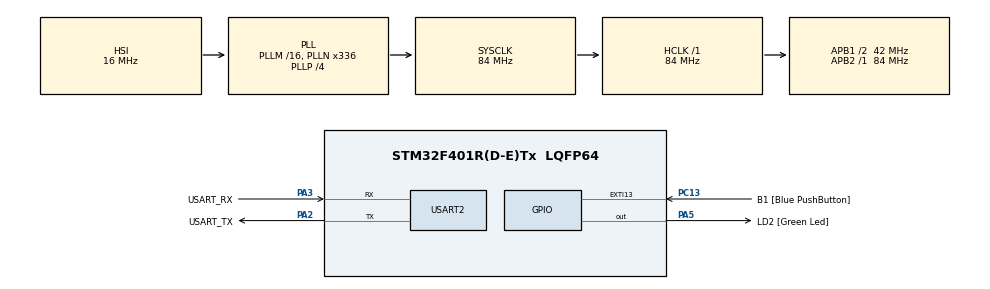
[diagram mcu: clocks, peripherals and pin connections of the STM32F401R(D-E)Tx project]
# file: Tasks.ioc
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FREERTOS.Queues01=myQueue01,16,uint16_t,0,Dynamic,NULL,NULL
FREERTOS.Tasks01=defaultTask,0,128,StartDefaultTask,Default,NULL,Dynamic,NULL,NULL
Mcu.Family=STM32F4
Mcu.Name=STM32F401R(D-E)Tx
Mcu.Package=LQFP64
NVIC.PriorityGroup=NVIC_PRIORITYGROUP_4
PA13.GPIO_Label=TMS
PA13.Mode=Trace_Asynchronous_SW
PA13.Signal=SYS_JTMS-SWDIO
PA14.GPIO_Label=TCK
PA14.Mode=Trace_Asynchronous_SW
PA14.Signal=SYS_JTCK-SWCLK
PA2.GPIO_Label=USART_TX
PA2.GPIO_Mode=GPIO_MODE_AF_PP
PA2.GPIO_PuPd=GPIO_NOPULL
PA2.GPIO_Speed=GPIO_SPEED_FREQ_LOW
PA2.Mode=Asynchronous
PA2.Signal=USART2_TX
PA3.GPIO_Label=USART_RX
PA3.GPIO_Mode=GPIO_MODE_AF_PP
PA3.GPIO_PuPd=GPIO_NOPULL
PA3.GPIO_Speed=GPIO_SPEED_FREQ_LOW
PA3.Mode=Asynchronous
PA3.Signal=USART2_RX
PA5.GPIO_Label=LD2 [Green Led]
PA5.GPIO_Mode=GPIO_MODE_OUTPUT_PP
PA5.GPIO_PuPd=GPIO_NOPULL
PA5.GPIO_Speed=GPIO_SPEED_FREQ_LOW
PA5.Signal=GPIO_Output
PB3.GPIO_Label=SWO
PB3.Mode=Trace_Asynchronous_SW
PB3.Signal=SYS_JTDO-SWO
PC13-ANTI_TAMP.GPIO_Label=B1 [Blue PushButton]
PC13-ANTI_TAMP.GPIO_ModeDefaultEXTI=GPIO_MODE_IT_FALLING
PC13-ANTI_TAMP.GPIO_PuPd=GPIO_NOPULL
PC13-ANTI_TAMP.Signal=GPXTI13
PC14-OSC32_IN.Mode=LSE-External-Oscillator
PC14-OSC32_IN.Signal=RCC_OSC32_IN
PC15-OSC32_OUT.Mode=LSE-External-Oscillator
PC15-OSC32_OUT.Signal=RCC_OSC32_OUT
PH0\ -\ OSC_IN.Mode=HSE-External-Clock-Source
PH0\ -\ OSC_IN.Signal=RCC_OSC_IN
PH1\ -\ OSC_OUT.Mode=HSE-External-Clock-Source
PH1\ -\ OSC_OUT.Signal=RCC_OSC_OUT
ProjectManager.HeapSize=0x200
ProjectManager.StackSize=0x400
ProjectManager.TargetToolchain=STM32CubeIDE
RCC.48MHZClocksFreq_Value=48000000
RCC.AHBFreq_Value=84000000
RCC.APB1CLKDivider=RCC_HCLK_DIV2
RCC.APB1Freq_Value=42000000
RCC.APB1TimFreq_Value=84000000
RCC.APB2Freq_Value=84000000
RCC.APB2TimFreq_Value=84000000
RCC.CortexFreq_Value=84000000
RCC.HCLKFreq_Value=84000000
RCC.HSE_VALUE=8000000
RCC.HSI_VALUE=16000000
RCC.PLLN=336
RCC.PLLP=RCC_PLLP_DIV4
RCC.PLLQ=7
RCC.SYSCLKFreq_VALUE=84000000
RCC.SYSCLKSource=RCC_SYSCLKSOURCE_PLLCLK
RCC.VCOOutputFreq_Value=336000000
USART2.VirtualMode=VM_ASYNC
VP_FREERTOS_VS_CMSIS_V1.Mode=CMSIS_V1
board=NUCLEO-F401RE

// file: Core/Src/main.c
/* USER CODE BEGIN Header */
/**
  ******************************************************************************
  * @file           : main.c
  * @brief          : Main program body
  ******************************************************************************
  * @attention
  *
  * Copyright (c) 2025 STMicroelectronics.
  * All rights reserved.
  *
  * This software is licensed under terms that can be found in the LICENSE file
  * in the root directory of this software component.
  * If no LICENSE file comes with this software, it is provided AS-IS.
  *
  ******************************************************************************
  */
/* USER CODE END Header */
#include "main.h"
#include "cmsis_os.h"
#include <stdio.h>

UART_HandleTypeDef huart2;

osThreadId defaultTaskHandle;
osMessageQId myQueue01Handle;
/* USER CODE BEGIN PV */
osThreadId uartTaskHandle;
/* USER CODE END PV */

void SystemClock_Config(void);
static void MX_GPIO_Init(void);
static void MX_USART2_UART_Init(void);
void StartDefaultTask(void const * argument);

/* USER CODE BEGIN PFP */
void StartUartTask(void const * argument);
/* USER CODE END PFP */

int main(void)
{

  /* MCU Configuration--------------------------------------------------------*/

  /* Reset of all peripherals, Initializes the Flash interface and the Systick. */
  HAL_Init();

  /* Configure the system clock */
  SystemClock_Config();

  /* Initialize all configured peripherals */
  MX_GPIO_Init();
  MX_USART2_UART_Init();

  /* Create the queue(s) */
  /* definition and creation of myQueue01 */
  osMessageQDef(myQueue01, 16, uint8_t);
  myQueue01Handle = osMessageCreate(osMessageQ(myQueue01), NULL);

  /* Create the thread(s) */
  /* definition and creation of defaultTask */
  osThreadDef(defaultTask, StartDefaultTask, osPriorityNormal, 0, 128);
  defaultTaskHandle = osThreadCreate(osThread(defaultTask), NULL);

  /* USER CODE BEGIN RTOS_THREADS */
  /* add threads, ... */
  osThreadDef(uartTask, StartUartTask, osPriorityNormal, 0, 128);
  uartTaskHandle = osThreadCreate(osThread(uartTask), NULL);
  /* USER CODE END RTOS_THREADS */

  /* Start scheduler */
  osKernelStart();

  /* We should never get here as control is now taken by the scheduler */

  /* Infinite loop */
  while (1)
  {

  }
}

void SystemClock_Config(void)
{
  RCC_OscInitTypeDef RCC_OscInitStruct = {0};
  RCC_ClkInitTypeDef RCC_ClkInitStruct = {0};

  /** Configure the main internal regulator output voltage
  */
  __HAL_RCC_PWR_CLK_ENABLE();
  __HAL_PWR_VOLTAGESCALING_CONFIG(PWR_REGULATOR_VOLTAGE_SCALE2);

  /** Initializes the RCC Oscillators according to the specified parameters
  * in the RCC_OscInitTypeDef structure.
  */
  RCC_OscInitStruct.OscillatorType = RCC_OSCILLATORTYPE_HSI;
  RCC_OscInitStruct.HSIState = RCC_HSI_ON;
  RCC_OscInitStruct.HSICalibrationValue = RCC_HSICALIBRATION_DEFAULT;
  RCC_OscInitStruct.PLL.PLLState = RCC_PLL_ON;
  RCC_OscInitStruct.PLL.PLLSource = RCC_PLLSOURCE_HSI;
  RCC_OscInitStruct.PLL.PLLM = 16;
  RCC_OscInitStruct.PLL.PLLN = 336;
  RCC_OscInitStruct.PLL.PLLP = RCC_PLLP_DIV4;
  RCC_OscInitStruct.PLL.PLLQ = 7;
  if (HAL_RCC_OscConfig(&RCC_OscInitStruct) != HAL_OK)
  {
    Error_Handler();
  }

  /** Initializes the CPU, AHB and APB buses clocks
  */
  RCC_ClkInitStruct.ClockType = RCC_CLOCKTYPE_HCLK|RCC_CLOCKTYPE_SYSCLK
                              |RCC_CLOCKTYPE_PCLK1|RCC_CLOCKTYPE_PCLK2;
  RCC_ClkInitStruct.SYSCLKSource = RCC_SYSCLKSOURCE_PLLCLK;
  RCC_ClkInitStruct.AHBCLKDivider = RCC_SYSCLK_DIV1;
  RCC_ClkInitStruct.APB1CLKDivider = RCC_HCLK_DIV2;
  RCC_ClkInitStruct.APB2CLKDivider = RCC_HCLK_DIV1;

  if (HAL_RCC_ClockConfig(&RCC_ClkInitStruct, FLASH_LATENCY_2) != HAL_OK)
  {
    Error_Handler();
  }
}

static void MX_USART2_UART_Init(void)
{

  huart2.Instance = USART2;
  huart2.Init.BaudRate = 115200;
  huart2.Init.WordLength = UART_WORDLENGTH_8B;
  huart2.Init.StopBits = UART_STOPBITS_1;
  huart2.Init.Parity = UART_PARITY_NONE;
  huart2.Init.Mode = UART_MODE_TX_RX;
  huart2.Init.HwFlowCtl = UART_HWCONTROL_NONE;
  huart2.Init.OverSampling = UART_OVERSAMPLING_16;
  if (HAL_UART_Init(&huart2) != HAL_OK)
  {
    Error_Handler();
  }

}

static void MX_GPIO_Init(void)
{
  GPIO_InitTypeDef GPIO_InitStruct = {0};

  /* GPIO Ports Clock Enable */
  __HAL_RCC_GPIOC_CLK_ENABLE();
  __HAL_RCC_GPIOH_CLK_ENABLE();
  __HAL_RCC_GPIOA_CLK_ENABLE();
  __HAL_RCC_GPIOB_CLK_ENABLE();

  /*Configure GPIO pin Output Level */
  HAL_GPIO_WritePin(LD2_GPIO_Port, LD2_Pin, GPIO_PIN_RESET);

  /*Configure GPIO pin : B1_Pin */
  GPIO_InitStruct.Pin = B1_Pin;
  GPIO_InitStruct.Mode = GPIO_MODE_IT_FALLING;
  GPIO_InitStruct.Pull = GPIO_NOPULL;
  HAL_GPIO_Init(B1_GPIO_Port, &GPIO_InitStruct);

  /*Configure GPIO pin : LD2_Pin */
  GPIO_InitStruct.Pin = LD2_Pin;
  GPIO_InitStruct.Mode = GPIO_MODE_OUTPUT_PP;
  GPIO_InitStruct.Pull = GPIO_NOPULL;
  GPIO_InitStruct.Speed = GPIO_SPEED_FREQ_LOW;
  HAL_GPIO_Init(LD2_GPIO_Port, &GPIO_InitStruct);

}

/* USER CODE BEGIN 4 */
void StartUartTask(void const * argument)
{
  osEvent evt;
  char msg[30];
  for(;;)
  {
	evt = osMessageGet(myQueue01Handle, osWaitForever);
	if (evt.status == osEventMessage) {
		uint8_t receivedData = (uint8_t)(evt.value.v);
		sprintf(msg, "UART Task received: %d \r\n", receivedData);
		HAL_UART_Transmit(&huart2, (uint8_t*)msg, sizeof(msg)-1, HAL_MAX_DELAY);
	}
    osDelay(2000); // 2 second delay
  }
}
/* USER CODE END 4 */

void StartDefaultTask(void const * argument)
{
  /* USER CODE BEGIN 5 */
  uint8_t dataToSend = 0;
  /* Infinite loop */
  for(;;)
  {
	osMessagePut(myQueue01Handle, dataToSend, osWaitForever);
	dataToSend++;
	HAL_GPIO_TogglePin(LD2_GPIO_Port, LD2_Pin);
    osDelay(2000);
  }
  /* USER CODE END 5 */
}

void Error_Handler(void)
{
  __disable_irq();
  while (1)
  {
  }
}
